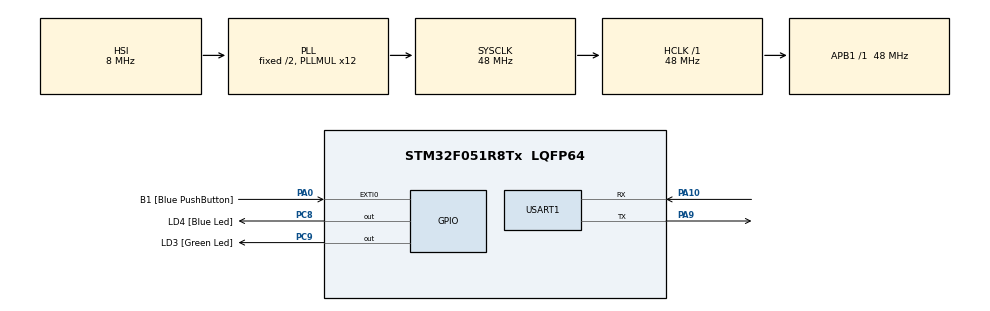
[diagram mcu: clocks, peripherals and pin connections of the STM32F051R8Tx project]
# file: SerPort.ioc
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Mcu.Family=STM32F0
Mcu.Name=STM32F051R8Tx
Mcu.Package=LQFP64
PA0.GPIO_Label=B1 [Blue PushButton]
PA0.GPIO_ModeDefaultEXTI=GPIO_MODE_EVT_RISING
PA0.Signal=GPXTI0
PA10.Mode=Asynchronous
PA10.Signal=USART1_RX
PA13.GPIO_Label=SWDIO
PA13.Signal=SYS_SWDIO
PA14.GPIO_Label=SWCLK
PA14.Signal=SYS_SWCLK
PA9.Mode=Asynchronous
PA9.Signal=USART1_TX
PC8.GPIO_Label=LD4 [Blue Led]
PC8.Signal=GPIO_Output
PC9.GPIO_Label=LD3 [Green Led]
PC9.Signal=GPIO_Output
ProjectManager.HeapSize=0x200
ProjectManager.StackSize=0x400
ProjectManager.TargetToolchain=MDK-ARM V5
RCC.AHBFreq_Value=48000000
RCC.APB1Freq_Value=48000000
RCC.APB1TimFreq_Value=48000000
RCC.HCLKFreq_Value=48000000
RCC.PLLMUL=RCC_PLL_MUL12
RCC.SYSCLKFreq_VALUE=48000000
RCC.SYSCLKSource=RCC_SYSCLKSOURCE_PLLCLK
board=STM32F0DISCOVERY

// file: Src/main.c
/**
  ******************************************************************************
  * File Name          : main.c
  * Description        : Main program body
  ******************************************************************************
  *
  * COPYRIGHT(c) 2016 STMicroelectronics
  *
  * Redistribution and use in source and binary forms, with or without modification,
  * are permitted provided that the following conditions are met:
  *   1. Redistributions of source code must retain the above copyright notice,
  *      this list of conditions and the following disclaimer.
  *   2. Redistributions in binary form must reproduce the above copyright notice,
  *      this list of conditions and the following disclaimer in the documentation
  *      and/or other materials provided with the distribution.
  *   3. Neither the name of STMicroelectronics nor the names of its contributors
  *      may be used to endorse or promote products derived from this software
  *      without specific prior written permission.
  *
  * THIS SOFTWARE IS PROVIDED BY THE COPYRIGHT HOLDERS AND CONTRIBUTORS "AS IS"
  * AND ANY EXPRESS OR IMPLIED WARRANTIES, INCLUDING, BUT NOT LIMITED TO, THE
  * IMPLIED WARRANTIES OF MERCHANTABILITY AND FITNESS FOR A PARTICULAR PURPOSE ARE
  * DISCLAIMED. IN NO EVENT SHALL THE COPYRIGHT HOLDER OR CONTRIBUTORS BE LIABLE
  * FOR ANY DIRECT, INDIRECT, INCIDENTAL, SPECIAL, EXEMPLARY, OR CONSEQUENTIAL
  * DAMAGES (INCLUDING, BUT NOT LIMITED TO, PROCUREMENT OF SUBSTITUTE GOODS OR
  * SERVICES; LOSS OF USE, DATA, OR PROFITS; OR BUSINESS INTERRUPTION) HOWEVER
  * CAUSED AND ON ANY THEORY OF LIABILITY, WHETHER IN CONTRACT, STRICT LIABILITY,
  * OR TORT (INCLUDING NEGLIGENCE OR OTHERWISE) ARISING IN ANY WAY OUT OF THE USE
  * OF THIS SOFTWARE, EVEN IF ADVISED OF THE POSSIBILITY OF SUCH DAMAGE.
  *
  ******************************************************************************
  */
#include <string.h>
//#include <stdint.h>

#include "main.h"
#include "stm32f0xx_hal.h"
#include "usart.h"
#include "gpio.h"

#include "comm.h"

/* USER CODE BEGIN PV */
/* Private variables ---------------------------------------------------------*/
uint8_t mysequenceno = 0 ;

INPUT_MESSAGE_TYPE inp ;
uint8_t num_chars_received = 0 ;

OUTPUT_MESSAGE_TYPE out ;

/* USER CODE END PV */

void SystemClock_Config(void);
void Error_Handler(void);

/* USER CODE BEGIN PFP */
/* Private function prototypes -----------------------------------------------*/

/* USER CODE END PFP */

int main(void)
{

  /* USER CODE BEGIN 1 */
  mysequenceno = 0 ;
	out.o_myseqno = mysequenceno ;
	out.o_yourseqno = 0 ;
	inp.i_myseqno = 0 ;
	inp.i_yourseqno = 0 ;

  /* USER CODE END 1 */

  /* MCU Configuration----------------------------------------------------------*/

  /* Reset of all peripherals, Initializes the Flash interface and the Systick. */
  HAL_Init();

  /* Configure the system clock */
  SystemClock_Config();

  /* Initialize all configured peripherals */
  MX_GPIO_Init();
  MX_USART1_UART_Init();

  NVIC_EnableIRQ(USART1_IRQn);

  /* Infinite loop */
  /* USER CODE BEGIN WHILE */
	HAL_UART_Receive_IT(&huart1,(uint8_t *)&inp,1) ;

  while (1)
  {
  /* USER CODE END WHILE */
		  mysequenceno++ ;
		  out.o_myseqno = mysequenceno ;
		  out.o_yourseqno = inp.i_yourseqno ;

      HAL_UART_Transmit(&huart1, (uint8_t *)&out , sizeof(out), 100) ;
		  HAL_GPIO_TogglePin(GPIOC,LD4_Pin) ;			   // Toggle the LED state
		  HAL_Delay(1000) ;
  }

}

/** System Clock Configuration
*/
void SystemClock_Config(void)
{

  RCC_OscInitTypeDef RCC_OscInitStruct;
  RCC_ClkInitTypeDef RCC_ClkInitStruct;
  RCC_PeriphCLKInitTypeDef PeriphClkInit;

    /**Initializes the CPU, AHB and APB busses clocks
    */
  RCC_OscInitStruct.OscillatorType = RCC_OSCILLATORTYPE_HSI;
  RCC_OscInitStruct.HSIState = RCC_HSI_ON;
  RCC_OscInitStruct.HSICalibrationValue = 16;
  RCC_OscInitStruct.PLL.PLLState = RCC_PLL_ON;
  RCC_OscInitStruct.PLL.PLLSource = RCC_PLLSOURCE_HSI;
  RCC_OscInitStruct.PLL.PLLMUL = RCC_PLL_MUL12;
  RCC_OscInitStruct.PLL.PREDIV = RCC_PREDIV_DIV1;
  if (HAL_RCC_OscConfig(&RCC_OscInitStruct) != HAL_OK)
  {
    Error_Handler();
  }

    /**Initializes the CPU, AHB and APB busses clocks
    */
  RCC_ClkInitStruct.ClockType = RCC_CLOCKTYPE_HCLK|RCC_CLOCKTYPE_SYSCLK
                              |RCC_CLOCKTYPE_PCLK1;
  RCC_ClkInitStruct.SYSCLKSource = RCC_SYSCLKSOURCE_PLLCLK;
  RCC_ClkInitStruct.AHBCLKDivider = RCC_SYSCLK_DIV1;
  RCC_ClkInitStruct.APB1CLKDivider = RCC_HCLK_DIV1;

  if (HAL_RCC_ClockConfig(&RCC_ClkInitStruct, FLASH_LATENCY_1) != HAL_OK)
  {
    Error_Handler();
  }

  PeriphClkInit.PeriphClockSelection = RCC_PERIPHCLK_USART1;
  PeriphClkInit.Usart1ClockSelection = RCC_USART1CLKSOURCE_PCLK1;
  if (HAL_RCCEx_PeriphCLKConfig(&PeriphClkInit) != HAL_OK)
  {
    Error_Handler();
  }

    /**Configure the Systick interrupt time
    */
  HAL_SYSTICK_Config(HAL_RCC_GetHCLKFreq()/1000);

    /**Configure the Systick
    */
  HAL_SYSTICK_CLKSourceConfig(SYSTICK_CLKSOURCE_HCLK);

  /* SysTick_IRQn interrupt configuration */
  HAL_NVIC_SetPriority(SysTick_IRQn, 0, 0);
}

/* USER CODE BEGIN 4 */
static void MX_GPIO_Init(void)
{

  GPIO_InitTypeDef GPIO_InitStruct;

  /* GPIO Ports Clock Enable */
  __HAL_RCC_GPIOA_CLK_ENABLE();
  __HAL_RCC_GPIOC_CLK_ENABLE();
  __HAL_RCC_GPIOF_CLK_ENABLE();

  /*Configure GPIO pin : B1_Pin */
  GPIO_InitStruct.Pin = B1_Pin;
  GPIO_InitStruct.Mode = GPIO_MODE_EVT_RISING;
  GPIO_InitStruct.Pull = GPIO_NOPULL;
  HAL_GPIO_Init(B1_GPIO_Port, &GPIO_InitStruct);

  /*Configure GPIO pins : LD4_Pin LD3_Pin */
  GPIO_InitStruct.Pin = LD4_Pin|LD3_Pin;
  GPIO_InitStruct.Mode = GPIO_MODE_OUTPUT_PP;
  GPIO_InitStruct.Pull = GPIO_NOPULL;
  GPIO_InitStruct.Speed = GPIO_SPEED_FREQ_LOW;
  HAL_GPIO_Init(GPIOC, &GPIO_InitStruct);

  /*Configure GPIO pin Output Level */
  HAL_GPIO_WritePin(GPIOC, LD4_Pin|LD3_Pin, GPIO_PIN_RESET);

}
/* USER CODE END 4 */

void Error_Handler(void)
{
  while(1)
  {
  }
}

void USART1_IRQHander()
{
	HAL_UART_IRQHandler(&huart1) ;
	if (num_chars_received == 0)
	{
		num_chars_received++ ;
		HAL_UART_Receive_IT( &huart1 , &inp.i_yourseqno , 1 ) ;
	}
	else
	{
		num_chars_received = 0 ;
		HAL_UART_Receive_IT( &huart1 , &inp.i_myseqno , 1 ) ;
	}
}

/************************ (C) COPYRIGHT STMicroelectronics *****END OF FILE****/
